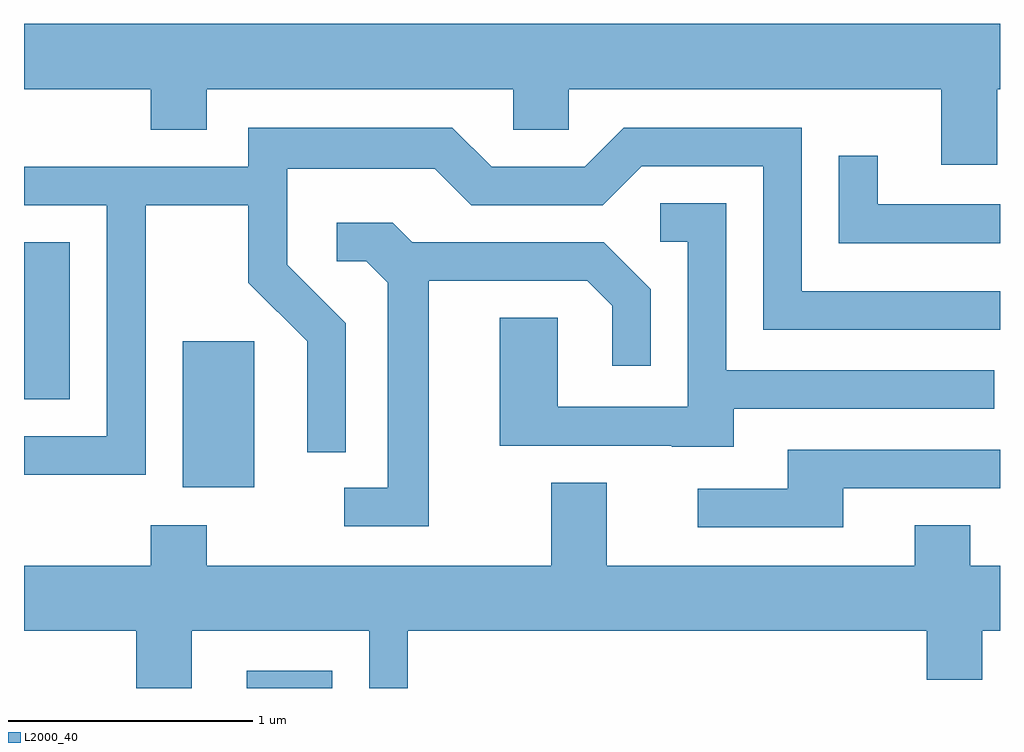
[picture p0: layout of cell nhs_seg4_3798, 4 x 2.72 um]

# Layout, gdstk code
import gdstk
lib = gdstk.Library(unit=1e-6, precision=1e-09)
def R(c, l, rs):  # rectangles x0, y0, x1, y1
    for r in rs: c.add(gdstk.rectangle(r[:2], r[2:], *l))
def P(c, l, *ps):  # polygons
    for p in ps: c.add(gdstk.Polygon(p, *l))
L2000_40 = (2000, 40)

nhs_seg4_3798 = lib.new_cell('nhs_seg4_3798')
R(nhs_seg4_3798, L2000_40, [(296.523,1369.982,296.874,1370.054), (296.261,1370.806,296.554,1371.404), (295.611,1371.166,295.799,1371.809)])
P(nhs_seg4_3798, L2000_40, [(299.599,1372.436),(299.611,1372.436),(299.611,1372.704),(295.611,1372.704),(295.611,1372.436),(296.131,1372.436),(296.131,1372.271),(296.359,1372.271),(296.359,1372.436),(297.616,1372.436),(297.616,1372.271),(297.844,1372.271),(297.844,1372.436),(299.371,1372.436),(299.371,1372.126),(299.599,1372.126)],
  [(296.109,1371.961),(296.531,1371.961),(296.531,1371.644),(296.771,1371.404),(296.771,1370.948),(296.929,1370.948),(296.929,1371.477),(296.689,1371.717),(296.689,1372.111),(297.294,1372.111),(297.444,1371.961),(297.982,1371.961),(298.142,1372.121),(298.641,1372.121),(298.641,1371.451),(299.611,1371.451),(299.611,1371.609),(298.799,1371.609),(298.799,1372.279),(298.069,1372.279),(297.909,1372.119),(297.527,1372.119),(297.367,1372.279),(296.531,1372.279),(296.531,1372.119),(295.611,1372.119),(295.611,1371.961),(295.951,1371.961),(295.951,1371.014),(295.611,1371.014),(295.611,1370.856),(296.109,1370.856)],
  [(299.611,1371.964),(299.109,1371.964),(299.109,1372.163),(298.951,1372.163),(298.951,1371.806),(299.611,1371.806)],
  [(298.519,1371.126),(299.588,1371.126),(299.588,1371.284),(298.489,1371.284),(298.489,1371.969),(298.218,1371.969),(298.218,1371.811),(298.331,1371.811),(298.331,1371.134),(297.799,1371.134),(297.799,1371.499),(297.561,1371.499),(297.561,1370.976),(298.265,1370.976),(298.265,1370.971),(298.519,1370.971)],
  [(297.269,1371.651),(297.919,1371.651),(298.021,1371.549),(298.021,1371.303),(298.179,1371.303),(298.179,1371.617),(297.987,1371.809),(297.202,1371.809),(297.122,1371.889),(296.893,1371.889),(296.893,1371.731),(297.014,1371.731),(297.101,1371.644),(297.101,1370.804),(296.923,1370.804),(296.923,1370.646),(297.269,1370.646)],
  [(298.969,1370.801),(299.611,1370.801),(299.611,1370.959),(298.741,1370.959),(298.741,1370.799),(298.373,1370.799),(298.373,1370.641),(298.969,1370.641)],
  [(296.299,1370.216),(297.026,1370.216),(297.026,1369.982),(297.184,1369.982),(297.184,1370.216),(299.311,1370.216),(299.311,1370.016),(299.539,1370.016),(299.539,1370.216),(299.611,1370.216),(299.611,1370.484),(299.489,1370.484),(299.489,1370.649),(299.261,1370.649),(299.261,1370.484),(297.999,1370.484),(297.999,1370.824),(297.771,1370.824),(297.771,1370.484),(296.359,1370.484),(296.359,1370.649),(296.131,1370.649),(296.131,1370.484),(295.611,1370.484),(295.611,1370.216),(296.071,1370.216),(296.071,1369.982),(296.299,1369.982)])

lib.write_gds('nhs_seg4_3798.gds')
